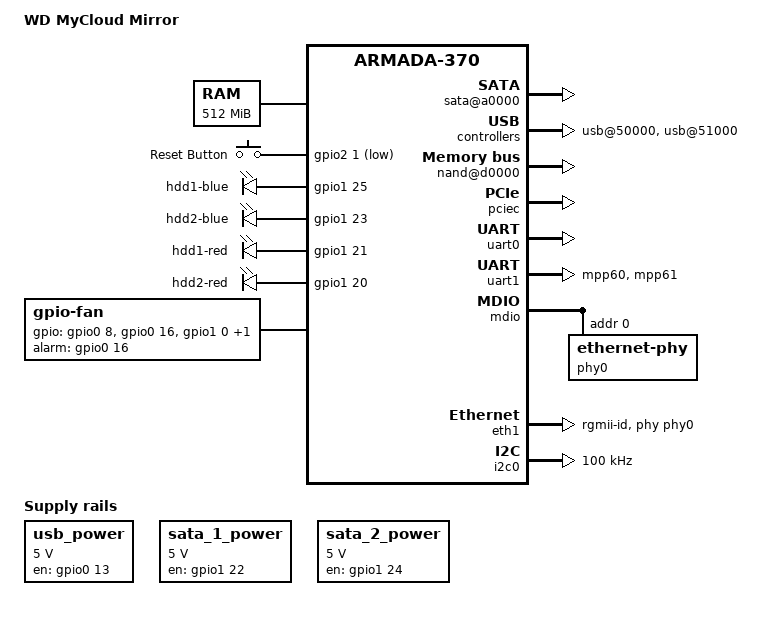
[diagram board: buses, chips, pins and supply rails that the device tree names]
/*
 * Device Tree file for WD MyCloud Mirror
 * Based on DB-88F6710-BP-DDR3
 *
 *  Copyright (C) 2012 Marvell
 *
 * Lior Amsalem <alior@marvell.com>
 * Gregory CLEMENT <gregory.clement@free-electrons.com>
 * Thomas Petazzoni <thomas.petazzoni@free-electrons.com>
 * Allester Fox <fox.axon@gmail.com>
 *
 * This file is licensed under the terms of the GNU General Public
 * License version 2.  This program is licensed "as is" without any
 * warranty of any kind, whether express or implied.
 */

/dts-v1/;
#include <dt-bindings/input/input.h>
#include <dt-bindings/gpio/gpio.h>
#include "armada-370.dtsi"

/ {
	model = "WD MyCloud Mirror";
	compatible = "marvell,a370-db", "marvell,armada370", "marvell,armada-370-xp";

	chosen {
		stdout-path = "serial0:115200n8";
	};

	memory@0 {
		device_type = "memory";
		reg = <0x00000000 0x20000000>; /* 512 MiB */
	};

	soc {
		ranges = <MBUS_ID(0xf0, 0x01) 0 0xf1000000 0x100000
			MBUS_ID(0x01, 0xe0) 0 0xfff00000 0x100000
			MBUS_ID(0x09, 0x01) 0 0xf1100000 0x10000>;

		internal-regs {
			sata@a0000 {
				nr-ports = <2>;
				status = "okay";
			};

			usb@50000 {
				status = "okay";
			};

                        usb@51000 {
				status = "okay";
			};

			nand@d0000 {
				status = "okay";
				compatible = "marvell,armada370-nand";
				num-cs = <1>;
				marvell,nand-enable-arbiter;
				nand-on-flash-bbt;
				nand-ecc-strength = <4>;
				nand-ecc-step-size = <512>;
				
				partitions {
					compatible = "fixed-partitions";
					#address-cells = <1>;
					#size-cells = <1>;

					partition@0 {
						label = "u-Boot";
						reg = <0x00000000 0x00500000>;	// Warning: New style: <start size> not old <start end> !
						read-only;
					};
					partition@500000 {
						label = "uImage";
						reg = <0x00500000 0x00500000>;
					};
					partition@a00000 {
						label = "ramdisk";
						reg = <0x00A00000 0x00500000>;
					};
					partition@f00000 {
						label = "image.cfs";
						reg = <0x00f00000 0x0c900000>;
					};
					partition@dd00000 {
						label = "rescue firmware";
						reg = <0x0dd00000 0x00f00000>;
					};
					partition@ec00000 {
						label = "config";
						reg = <0x0ec00000 0x01400000>;
					};
					partition@d800000 {
						label = "reserve";
						reg = <0x0d800000 0x00500000>;
					};
				};
			};
		};
	};

	gpio-keys {
		compatible = "gpio-keys";
		pinctrl-0 = <&reset_button_pin>;
		pinctrl-names = "default";

		reset-button {
			label = "Reset Button";
			linux,code = <KEY_RESTART>;
			gpios = <&gpio2 1 GPIO_ACTIVE_LOW>;
		};
	};

	gpio-leds {
		compatible = "gpio-leds";
		pinctrl-names = "default";
		pinctrl-0 = <&led_pins>;

		hdd1-blue {
			label = "hdd1-blue";
			gpios = <&gpio1 25 GPIO_ACTIVE_HIGH>;	// gpio57
			//linux,default-trigger = "none";
			default-state = "keep";
		};
		hdd2-blue {
			label = "hdd2-blue";
			gpios = <&gpio1 23 GPIO_ACTIVE_HIGH>;	// gpio55
			//linux,default-trigger = "none";
			default-state = "keep";
		};
		hdd1-red {
			label = "hdd1-red";
			gpios = <&gpio1 21 GPIO_ACTIVE_HIGH>;	// gpio53
			// linux,default-trigger = "none";
			default-state = "keep";
		};
		hdd2-red {
			label = "hdd2-red";
			gpios = <&gpio1 20 GPIO_ACTIVE_HIGH>;	// gpio52
			// linux,default-trigger = "none";
			default-state = "keep";
		};
	};

	gpio-fan {
		status = "okay";
		compatible = "gpio-fan";
		pinctrl-names = "default";
		pinctrl-0 = <&fan_pins>;

		gpios = <&gpio0 8 GPIO_ACTIVE_HIGH
				&gpio0 16 GPIO_ACTIVE_HIGH
				&gpio1 0 GPIO_ACTIVE_HIGH	// mpp32: 32-32=0
				&gpio0 6 GPIO_ACTIVE_HIGH>;
		alarm-gpios = <&gpio0 16 GPIO_ACTIVE_HIGH>;
		gpio-fan,speed-map = < 0 0
			 1500 1
			 1700 2
			 1800 3
			 2100 4>;
	};

	regulators {
		compatible = "simple-bus";
		#address-cells = <1>;
		#size-cells = <0>;

		usb_power: regulator@1 {
			compatible = "regulator-fixed";
			reg = <1>;
			pinctrl-0 = <&xhci_pwr_pin>;
			pinctrl-names = "default";
			regulator-name = "USB3.0 Port Power";
			regulator-min-microvolt = <5000000>;
			regulator-max-microvolt = <5000000>;
			enable-active-high;
			regulator-boot-on;
			regulator-always-on;
			gpio = <&gpio0 13 GPIO_ACTIVE_HIGH>;
		};

		sata_1_power: regulator@2 {
			compatible = "regulator-fixed";
			reg = <2>;
			pinctrl-0 = <&sata_1_pwr_pin>;
			pinctrl-names = "default";
			regulator-name = "SATA-1 Power";
			regulator-min-microvolt = <5000000>;
			regulator-max-microvolt = <5000000>;
			startup-delay-us = <2000000>;
			enable-active-high;
			regulator-always-on;
			regulator-boot-on;
			gpio = <&gpio1 22 GPIO_ACTIVE_HIGH>;
		};

		sata_2_power: regulator@3 {
			compatible = "regulator-fixed";
			reg = <3>;
			pinctrl-0 = <&sata_2_pwr_pin>;
			pinctrl-names = "default";
			regulator-name = "SATA-2 Power";
			regulator-min-microvolt = <5000000>;
			regulator-max-microvolt = <5000000>;
			startup-delay-us = <4000000>;
			enable-active-high;
			regulator-always-on;
			regulator-boot-on;
			gpio = <&gpio1 24 GPIO_ACTIVE_HIGH>;
		};
	};
};

&pciec {
	status = "okay";

	pcie@1,0 {
		/* Port 0, Lane 0 */
		status = "okay";
	};

	pcie@2,0 {
		/* Port 1, Lane 0 */
		status = "okay";
	};
};

&pinctrl {
	led_pins: led-pins {
		// HDD2-Red, HDD1-Red, HDD1-Blue, HDD2-Blue
		marvell,pins = "mpp52", "mpp53", "mpp57", "mpp55";
		marvell,function = "gpio";
	};

	fan_pins: fan-pins {
		marvell,pins = "mpp6", "mpp8", "mpp16", "mpp32";
		marvell,function = "gpio";
	};

	xhci_pwr_pin: xhci-pwr-pin {
		marvell,pins = "mpp13";
		marvell,function = "gpio";
	};

	sata_1_pwr_pin: sata-1-pwr-pin {
		marvell,pins = "mpp54";
		marvell,function = "gpio";
	};

	sata_2_pwr_pin: sata-2-pwr-pin {
		marvell,pins = "mpp56";
		marvell,function = "gpio";
	};

	uart1_pins: uart1-pins {
		marvell,pins = "mpp60", "mpp61";
		marvell,function = "uart1";
	};

	reset_button_pin: reset-button-pin {
		marvell,pins = "mpp64";
		marvell,function = "gpio";
	};
};

/* Serial console */
&uart0 {
	status = "okay";
};

/* Connected to Weltrend MCU */
&uart1 {
	pinctrl-0 = <&uart1_pins>;
	pinctrl-names = "default";
	status = "okay";
};

&mdio {
	phy0: ethernet-phy@0 { /* Marvell 88E1318 */
		reg = <0>;
		/*
		marvell,reg-init = <0x0 0x16 0x0 0x0002>,
				<0x0 0x19 0x0 0x0077>,
				<0x0 0x18 0x0 0x5747>;
		*/
	};
};

&eth1 {
	phy = <&phy0>;
	phy-mode = "rgmii-id";
	status = "okay";
};

&i2c0 {
	compatible = "marvell,mv64xxx-i2c";
	clock-frequency = <100000>;
	status = "okay";
};
